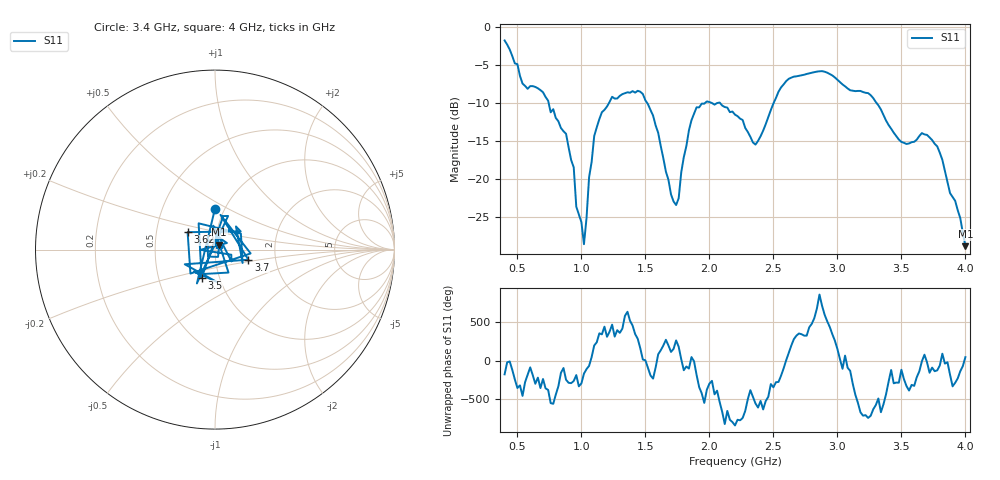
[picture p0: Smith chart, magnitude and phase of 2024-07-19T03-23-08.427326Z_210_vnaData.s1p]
!Created with skrf (http://scikit-rf.org).
# Hz S RI R 50.0
!freq ReS11 ImS11
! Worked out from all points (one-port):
!   181 points, 400 MHz to 4 GHz, reference 50 ohm
!   lowest |S11| = -28.9 dB at 4 GHz (marker M1), VSWR 1.07, Z = 52.4 + j2.84 ohm
!   |S11| at or under -10 dB: 743.7 MHz to 1.216 GHz (472.6 MHz wide, 48.2 % of centre); 1.513 GHz to 1.968 GHz (455 MHz wide, 26.1 % of centre); 3.305 GHz to end of sweep (the widest 3 of 5)
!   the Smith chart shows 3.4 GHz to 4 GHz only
!   S11 on the Smith chart (normalised r, x): 3.4 GHz: 0.90, +0.43; 3.5 GHz: 0.82, -0.27; 3.62 GHz: 0.72, +0.15; 3.7 GHz: 1.45, -0.17; 4 GHz: 1.05, +0.06
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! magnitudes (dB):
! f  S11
! 400 MHz  -1.8
! 540 MHz  -7.5
! 700 MHz  -8.6
! 860 MHz  -13.7
! 940 MHz  -18.5
! 960 MHz  -23.7
! 1.02 GHz  -28.6
! 1.06 GHz  -19.8
! 1.1 GHz  -14.4
! 1.3 GHz  -9.1
! 1.48 GHz  -8.8
! 1.6 GHz  -14.0
! 1.7 GHz  -22.0
! 1.76 GHz  -22.6
! 1.84 GHz  -13.6
! 1.9 GHz  -10.6
! 2.2 GHz  -11.6
! 2.36 GHz  -15.5
! 2.66 GHz  -6.6
! 3.1 GHz  -8.4
! 3.26 GHz  -9.0
! 3.4 GHz  -12.9
! 3.5 GHz  -15.1
! 3.56 GHz  -15.3
! 3.62 GHz  -14.9
! 3.7 GHz  -14.2
! 3.82 GHz  -17.5
! 4 GHz  -28.9
